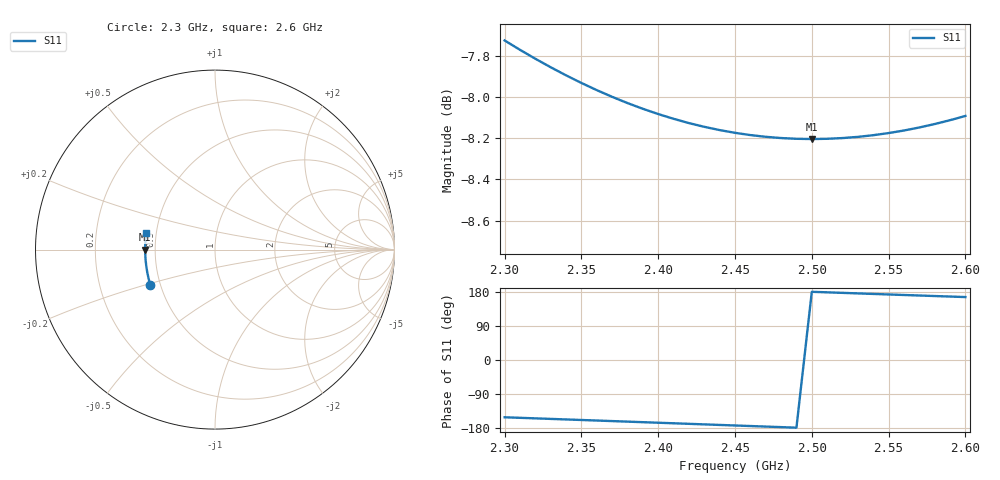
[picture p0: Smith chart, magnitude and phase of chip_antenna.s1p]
! chip_antenna.s1p -- SYNTHETIC. Not a measurement and not a vendor file.
! A series RLC resonator standing in for a 2.4 GHz chip antenna:
! R = 22 Ohm, L = 4 nH, C = 1.0132 pF (series resonance at 2.50 GHz).
! Written by hand for fang's antenna_match example, so the example has a
! model to read; its provenance in the program is an assumption.
# GHz S MA R 50
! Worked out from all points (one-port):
!   31 points, 2.3 GHz to 2.6 GHz, reference 50 ohm
!   lowest |S11| = -8.2 dB at 2.5 GHz (marker M1), VSWR 2.27, Z = 22 + j2.47e-15 ohm
!   |S11| at or under -10 dB: nowhere
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2.3  0.4109 -151.2
2.31  0.4088 -152.6
2.32  0.4068 -154.0
2.33  0.4048 -155.4
2.34  0.403 -156.9
2.35  0.4013 -158.3
2.36  0.3997 -159.7
2.37  0.3982 -161.2
2.38  0.3968 -162.6
2.39  0.3955 -164.1
2.4  0.3944 -165.5
2.41  0.3933 -167.0
2.42  0.3924 -168.4
2.43  0.3916 -169.9
2.44  0.3908 -171.3
2.45  0.3902 -172.8
2.46  0.3898 -174.2
2.47  0.3894 -175.7
2.48  0.3891 -177.1
2.49  0.3889 -178.6
2.5  0.3889 180.0
2.51  0.3889 178.6
2.52  0.3891 177.2
2.53  0.3894 175.7
2.55  0.3902 172.9
2.57  0.3914 170.2
2.59  0.393 167.4
2.6  0.3939 166.1
